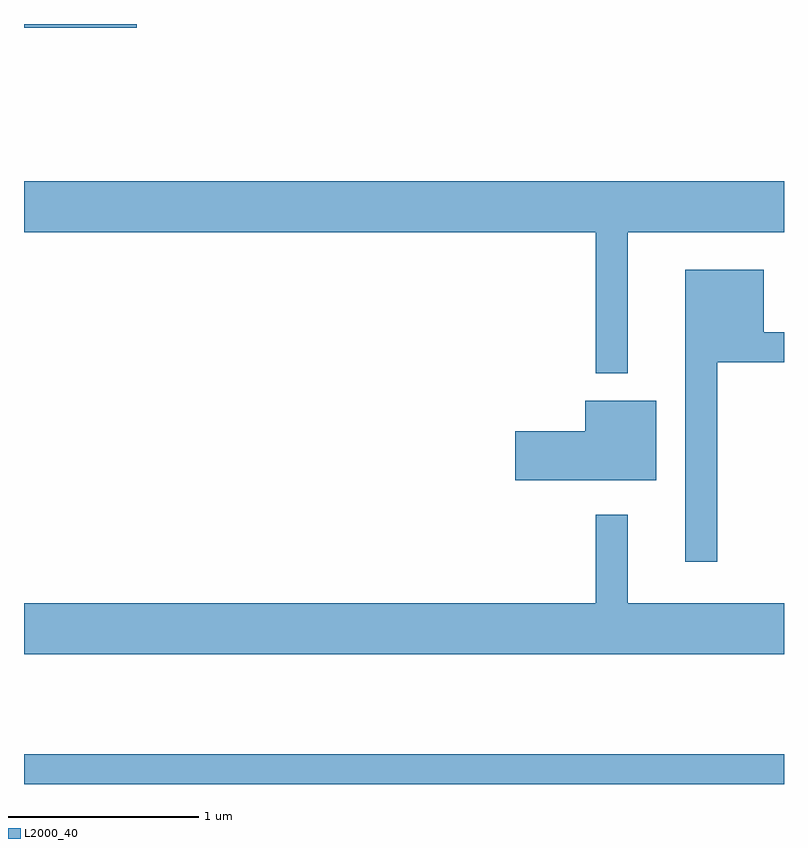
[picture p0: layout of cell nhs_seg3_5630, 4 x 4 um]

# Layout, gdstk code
import gdstk
lib = gdstk.Library(unit=1e-6, precision=1e-09)
def R(c, l, rs):  # rectangles x0, y0, x1, y1
    for r in rs: c.add(gdstk.rectangle(r[:2], r[2:], *l))
def P(c, l, *ps):  # polygons
    for p in ps: c.add(gdstk.Polygon(p, *l))
L2000_40 = (2000, 40)

nhs_seg3_5630 = lib.new_cell('nhs_seg3_5630')
R(nhs_seg3_5630, L2000_40, [(349.611,1231.892,353.611,1232.049), (349.611,1235.871,350.204,1235.892)])
P(nhs_seg3_5630, L2000_40, [(352.789,1234.796),(353.611,1234.796),(353.611,1235.064),(349.611,1235.064),(349.611,1234.796),(352.621,1234.796),(352.621,1234.053),(352.789,1234.053)],
  [(353.259,1234.111),(353.611,1234.111),(353.611,1234.269),(353.504,1234.269),(353.504,1234.599),(353.091,1234.599),(353.091,1233.063),(353.259,1233.063)],
  [(352.939,1233.909),(352.566,1233.909),(352.566,1233.749),(352.196,1233.749),(352.196,1233.491),(352.939,1233.491)],
  [(353.611,1232.844),(352.789,1232.844),(352.789,1233.308),(352.621,1233.308),(352.621,1232.844),(349.611,1232.844),(349.611,1232.576),(353.611,1232.576)])

lib.write_gds('nhs_seg3_5630.gds')
